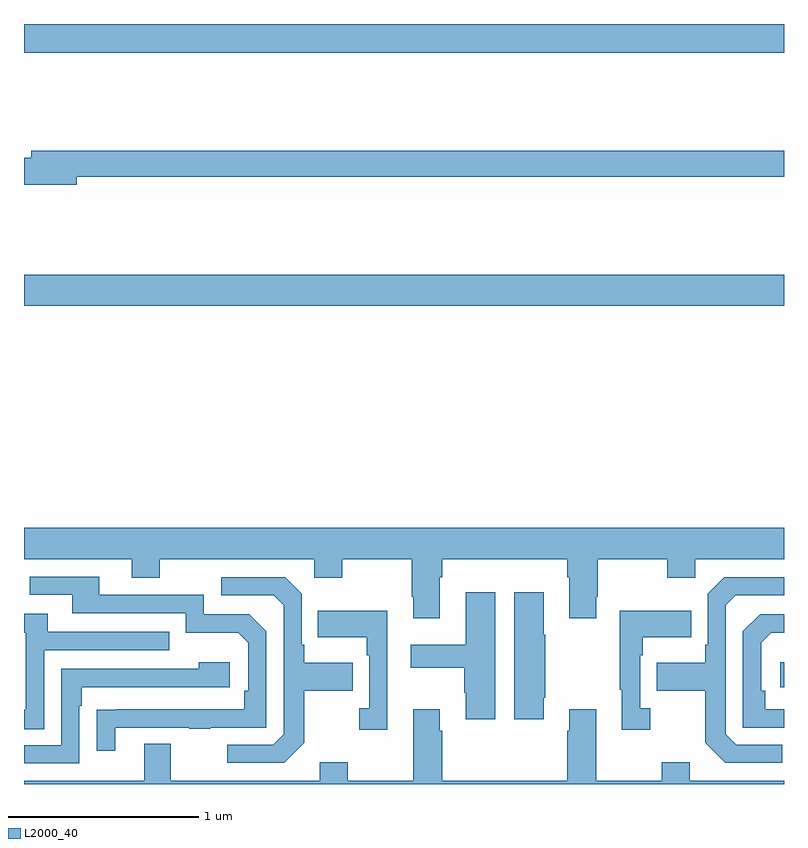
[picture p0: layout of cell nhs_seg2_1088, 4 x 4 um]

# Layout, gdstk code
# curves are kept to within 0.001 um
import gdstk
lib = gdstk.Library(unit=1e-6, precision=1e-09)
def R(c, l, rs):  # rectangles x0, y0, x1, y1
    for r in rs: c.add(gdstk.rectangle(r[:2], r[2:], *l))
def P(c, l, *ps):  # polygons
    for p in ps: c.add(gdstk.Polygon(p, *l))
L2000_40 = (2000, 40)

nhs_seg2_1088 = lib.new_cell('nhs_seg2_1088')
R(nhs_seg2_1088, L2000_40, [(170.979,632.31,171,632.44), (167,634.316,171,634.48), (167,635.648,171,635.8)])
P(nhs_seg2_1088, L2000_40, [(167.278,634.996),(171,634.996),(171,635.132),(167.039,635.132),(167.039,635.096),(167,635.096),(167,634.954),(167.278,634.954)],
  [(167,632.984),(167.567,632.984),(167.567,632.885),(167.715,632.885),(167.715,632.984),(168.528,632.984),(168.528,632.885),(168.675,632.885),(168.675,632.984),(169.042,632.984),(169.042,632.785),(169.049,632.785),(169.049,632.673),(169.189,632.673),(169.189,632.888),(169.202,632.888),(169.202,632.984),(169.859,632.984),(169.859,632.888),(169.871,632.888),(169.871,632.673),(170.011,632.673),(170.011,632.785),(170.019,632.785),(170.019,632.984),(170.386,632.984),(170.386,632.885),(170.532,632.885),(170.532,632.984),(171,632.984),(171,633.148),(167,633.148)],
  [(167.479,632.097),(167.869,632.097),(167.869,632.092),(167.981,632.092),(167.981,632.097),(168.276,632.097),(168.276,632.604),(168.186,632.694),(167.946,632.694),(167.946,632.796),(167.395,632.796),(167.395,632.892),(167.031,632.892),(167.031,632.796),(167.255,632.796),(167.255,632.7),(167.85,632.7),(167.85,632.597),(168.127,632.597),(168.18,632.544),(168.18,632.29),(168.16,632.29),(168.16,632.193),(167.383,632.192),(167.383,631.974),(167.479,631.974)],
  [(168.475,632.017),(168.475,632.29),(168.731,632.29),(168.731,632.437),(168.475,632.437),(168.475,632.533),(168.462,632.533),(168.462,632.802),(168.375,632.889),(168.039,632.889),(168.039,632.793),(168.315,632.793),(168.366,632.742),(168.366,632.061),(168.312,632.007),(168.069,632.007),(168.069,631.911),(168.369,631.911)],
  [(170.992,632.007),(170.748,632.007),(170.694,632.061),(170.694,632.742),(170.745,632.793),(171,632.793),(171,632.889),(170.685,632.889),(170.598,632.802),(170.598,632.533),(170.586,632.533),(170.586,632.437),(170.329,632.437),(170.329,632.29),(170.586,632.29),(170.586,632.017),(170.691,631.911),(170.992,631.911)],
  [(169.735,632.254),(169.743,632.254),(169.743,632.585),(169.735,632.585),(169.735,632.809),(169.58,632.809),(169.58,632.142),(169.735,632.142)],
  [(169.48,632.809),(169.325,632.809),(169.325,632.533),(169.035,632.533),(169.035,632.411),(169.318,632.411),(169.318,632.281),(169.325,632.281),(169.325,632.142),(169.48,632.142)],
  [(170.296,632.198),(170.244,632.198),(170.244,632.477),(170.257,632.477),(170.257,632.573),(170.513,632.573),(170.513,632.713),(170.136,632.713),(170.136,632.297),(170.147,632.297),(170.147,632.085),(170.296,632.085)],
  [(168.913,632.315),(168.912,632.315),(168.912,632.713),(168.547,632.713),(168.547,632.573),(168.804,632.573),(168.804,632.477),(168.816,632.477),(168.816,632.198),(168.765,632.198),(168.765,632.085),(168.913,632.085)],
  [(167.106,632.505),(167.765,632.505),(167.765,632.601),(167.125,632.601),(167.125,632.695),(167,632.695),(167,632.595),(167.01,632.595),(167.01,632.19),(167,632.19),(167,632.089),(167.106,632.089)],
  [(171,632.193),(170.9,632.193),(170.9,632.29),(170.88,632.29),(170.88,632.544),(170.933,632.597),(171,632.597),(171,632.694),(170.874,632.694),(170.784,632.604),(170.784,632.097),(171,632.097)],
  [(167.292,632.213),(167.305,632.213),(167.305,632.31),(168.082,632.31),(168.082,632.44),(167.921,632.44),(167.921,632.406),(167.196,632.406),(167.196,632.004),(167,632.004),(167,631.908),(167.292,631.908)],
  [(171,631.816),(170.503,631.816),(170.503,631.915),(170.356,631.915),(170.356,631.816),(170.011,631.816),(170.011,632.194),(169.871,632.194),(169.871,632.081),(169.859,632.081),(169.859,631.816),(169.202,631.816),(169.202,632.081),(169.189,632.081),(169.189,632.194),(169.049,632.194),(169.049,631.816),(168.705,631.816),(168.705,631.915),(168.557,631.915),(168.557,631.816),(167.773,631.816),(167.773,632.011),(167.633,632.011),(167.633,631.816),(167,631.816),(167,631.8),(171,631.8)])

lib.write_gds('nhs_seg2_1088.gds')
